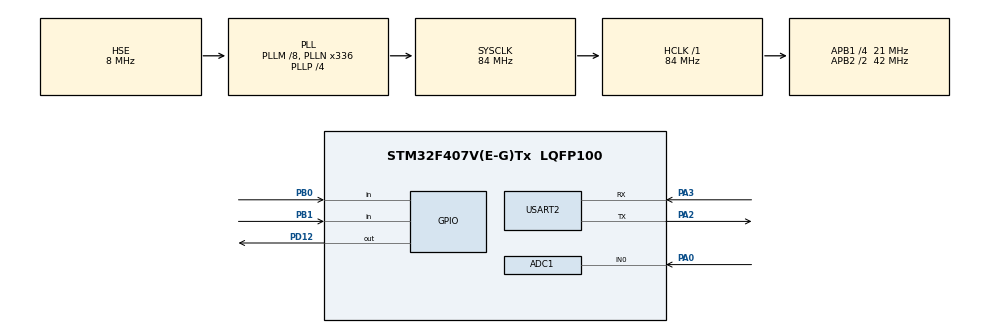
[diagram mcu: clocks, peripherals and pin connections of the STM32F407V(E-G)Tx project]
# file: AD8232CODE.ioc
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ADC1.Channel-0\#ChannelRegularConversion=ADC_CHANNEL_0
ADC1.DMAContinuousRequests=ENABLE
ADC1.ExternalTrigConv=ADC_EXTERNALTRIGCONV_T2_TRGO
ADC1.NbrOfConversionFlag=1
ADC1.Rank-0\#ChannelRegularConversion=1
ADC1.SamplingTime-0\#ChannelRegularConversion=ADC_SAMPLETIME_3CYCLES
ADC1.master=1
Dma.ADC1.0.Direction=DMA_PERIPH_TO_MEMORY
Dma.ADC1.0.FIFOMode=DMA_FIFOMODE_DISABLE
Dma.ADC1.0.Instance=DMA2_Stream0
Dma.ADC1.0.MemDataAlignment=DMA_MDATAALIGN_HALFWORD
Dma.ADC1.0.MemInc=DMA_MINC_ENABLE
Dma.ADC1.0.Mode=DMA_CIRCULAR
Dma.ADC1.0.PeriphDataAlignment=DMA_PDATAALIGN_HALFWORD
Dma.ADC1.0.PeriphInc=DMA_PINC_DISABLE
Dma.ADC1.0.Priority=DMA_PRIORITY_VERY_HIGH
Dma.Request0=ADC1
FREERTOS.Tasks01=defaultTask,24,128,StartDefaultTask,Default,NULL,Dynamic,NULL,NULL
Mcu.Family=STM32F4
Mcu.Name=STM32F407V(E-G)Tx
Mcu.Package=LQFP100
NVIC.ADC_IRQn=true\:5\:0\:false\:false\:true\:true\:true\:true\:true
NVIC.DMA2_Stream0_IRQn=true\:5\:0\:false\:false\:true\:true\:false\:true\:true
NVIC.PriorityGroup=NVIC_PRIORITYGROUP_4
PA0-WKUP.Signal=ADCx_IN0
PA13.Mode=Serial_Wire
PA13.Signal=SYS_JTMS-SWDIO
PA14.Mode=Serial_Wire
PA14.Signal=SYS_JTCK-SWCLK
PA2.Mode=Asynchronous
PA2.Signal=USART2_TX
PA3.Mode=Asynchronous
PA3.Signal=USART2_RX
PB0.Signal=GPIO_Input
PB1.Signal=GPIO_Input
PD12.Signal=GPIO_Output
PH0-OSC_IN.Mode=HSE-External-Oscillator
PH0-OSC_IN.Signal=RCC_OSC_IN
PH1-OSC_OUT.Mode=HSE-External-Oscillator
PH1-OSC_OUT.Signal=RCC_OSC_OUT
ProjectManager.HeapSize=0x200
ProjectManager.StackSize=0x400
ProjectManager.TargetToolchain=STM32CubeIDE
RCC.48MHZClocksFreq_Value=48000000
RCC.AHBFreq_Value=84000000
RCC.APB1CLKDivider=RCC_HCLK_DIV4
RCC.APB1Freq_Value=21000000
RCC.APB1TimFreq_Value=42000000
RCC.APB2CLKDivider=RCC_HCLK_DIV2
RCC.APB2Freq_Value=42000000
RCC.APB2TimFreq_Value=84000000
RCC.CortexFreq_Value=84000000
RCC.HCLKFreq_Value=84000000
RCC.HSE_VALUE=8000000
RCC.HSI_VALUE=16000000
RCC.LSE_VALUE=32768
RCC.PLLM=8
RCC.PLLN=336
RCC.PLLP=RCC_PLLP_DIV4
RCC.PLLQ=7
RCC.PLLSourceVirtual=RCC_PLLSOURCE_HSE
RCC.SYSCLKFreq_VALUE=84000000
RCC.SYSCLKSource=RCC_SYSCLKSOURCE_PLLCLK
RCC.VCOOutputFreq_Value=336000000
SH.ADCx_IN0.0=ADC1_IN0,IN0
TIM2.Period=39
TIM2.Prescaler=8399
TIM2.TIM_MasterOutputTrigger=TIM_TRGO_UPDATE
USART2.VirtualMode=VM_ASYNC
VP_FREERTOS_VS_CMSIS_V2.Mode=CMSIS_V2
VP_TIM2_VS_ClockSourceINT.Mode=Internal
board=STM32F407G-DISC1

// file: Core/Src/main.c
/* USER CODE BEGIN Header */
/**
  ******************************************************************************
  * @file           : main.c
  * @brief          : Main program body
  ******************************************************************************
  * @attention
  *
  * Copyright (c) 2026 STMicroelectronics.
  * All rights reserved.
  *
  * This software is licensed under terms that can be found in the LICENSE file
  * in the root directory of this software component.
  * If no LICENSE file comes with this software, it is provided AS-IS.
  *
  ******************************************************************************
  */
/* USER CODE END Header */
#include "main.h"
#include "cmsis_os.h"

/* USER CODE BEGIN Includes */
#include"ecg.h"
#include "uart_debug.h"
/* USER CODE END Includes */

ADC_HandleTypeDef hadc1;
DMA_HandleTypeDef hdma_adc1;

TIM_HandleTypeDef htim2;

UART_HandleTypeDef huart2;

/* Definitions for defaultTask */
osThreadId_t defaultTaskHandle;
const osThreadAttr_t defaultTask_attributes = {
  .name = "defaultTask",
  .stack_size = 128 * 4,
  .priority = (osPriority_t) osPriorityNormal,
};
/* USER CODE BEGIN PV */
TaskHandle_t ECGTaskHandle = NULL;
TaskHandle_t UARTTaskHandle = NULL;
/* USER CODE END PV */

void SystemClock_Config(void);
static void MX_GPIO_Init(void);
static void MX_DMA_Init(void);
static void MX_ADC1_Init(void);
static void MX_TIM2_Init(void);
static void MX_USART2_UART_Init(void);
void StartDefaultTask(void *argument);

/* USER CODE BEGIN 0 */
void vECGTask(void *argument)
{
    while(1)
    {
        ulTaskNotifyTake(pdTRUE, portMAX_DELAY);

        if(ECG_LeadOffDetected())
        {
            UART_SendString("Lead Off\r\n");
            continue;
        }

        xTaskNotifyGive(UARTTaskHandle);
    }
}
void vUARTTask(void *argument)
{
    while(1)
    {
        ulTaskNotifyTake(pdTRUE, portMAX_DELAY);

        if(dmaReady == ECG_FIRST_HALF)
        {
            for(int i = 0; i < ECG_BUFFER_SIZE; i++)
            {
                UART_SendNumber(adcBuffer[i]);
            }
        }
        else if(dmaReady == ECG_SECOND_HALF)
        {
            for(int i = ECG_BUFFER_SIZE;
                i < ECG_BUFFER_SIZE * 2;
                i++)
            {
                UART_SendNumber(adcBuffer[i]);
            }
        }

        dmaReady = ECG_NONE;
    }
}
/* USER CODE END 0 */

int main(void)
{

  /* MCU Configuration--------------------------------------------------------*/

  /* Reset of all peripherals, Initializes the Flash interface and the Systick. */
  HAL_Init();

  /* Configure the system clock */
  SystemClock_Config();

  /* Initialize all configured peripherals */
  MX_GPIO_Init();
  MX_DMA_Init();
  MX_ADC1_Init();
  MX_TIM2_Init();
  MX_USART2_UART_Init();
  /* USER CODE BEGIN 2 */
  ECG_Init();

  /* USER CODE END 2 */

  /* Init scheduler */
  osKernelInitialize();

  /* Create the thread(s) */
  /* creation of defaultTask */
  defaultTaskHandle = osThreadNew(StartDefaultTask, NULL, &defaultTask_attributes);

  /* USER CODE BEGIN RTOS_THREADS */
  /* add threads, ... */
  if(xTaskCreate(vECGTask,"ECG",512,NULL,4,&ECGTaskHandle) != pdPASS)
  {
	  Error_Handler();
  }

  if(xTaskCreate(vUARTTask,"UART",512,NULL,3,&UARTTaskHandle) != pdPASS)
  {
	  Error_Handler();
  }
  /* USER CODE END RTOS_THREADS */

  /* Start scheduler */
  osKernelStart();

  /* We should never get here as control is now taken by the scheduler */

  /* Infinite loop */
  /* USER CODE BEGIN WHILE */
  while (1)
  {
	  //ECG_Task();
    /* USER CODE END WHILE */

  }
}

void SystemClock_Config(void)
{
  RCC_OscInitTypeDef RCC_OscInitStruct = {0};
  RCC_ClkInitTypeDef RCC_ClkInitStruct = {0};

  /** Configure the main internal regulator output voltage
  */
  __HAL_RCC_PWR_CLK_ENABLE();
  __HAL_PWR_VOLTAGESCALING_CONFIG(PWR_REGULATOR_VOLTAGE_SCALE1);

  /** Initializes the RCC Oscillators according to the specified parameters
  * in the RCC_OscInitTypeDef structure.
  */
  RCC_OscInitStruct.OscillatorType = RCC_OSCILLATORTYPE_HSE;
  RCC_OscInitStruct.HSEState = RCC_HSE_ON;
  RCC_OscInitStruct.PLL.PLLState = RCC_PLL_ON;
  RCC_OscInitStruct.PLL.PLLSource = RCC_PLLSOURCE_HSE;
  RCC_OscInitStruct.PLL.PLLM = 8;
  RCC_OscInitStruct.PLL.PLLN = 336;
  RCC_OscInitStruct.PLL.PLLP = RCC_PLLP_DIV4;
  RCC_OscInitStruct.PLL.PLLQ = 7;
  if (HAL_RCC_OscConfig(&RCC_OscInitStruct) != HAL_OK)
  {
    Error_Handler();
  }

  /** Initializes the CPU, AHB and APB buses clocks
  */
  RCC_ClkInitStruct.ClockType = RCC_CLOCKTYPE_HCLK|RCC_CLOCKTYPE_SYSCLK
                              |RCC_CLOCKTYPE_PCLK1|RCC_CLOCKTYPE_PCLK2;
  RCC_ClkInitStruct.SYSCLKSource = RCC_SYSCLKSOURCE_PLLCLK;
  RCC_ClkInitStruct.AHBCLKDivider = RCC_SYSCLK_DIV1;
  RCC_ClkInitStruct.APB1CLKDivider = RCC_HCLK_DIV4;
  RCC_ClkInitStruct.APB2CLKDivider = RCC_HCLK_DIV2;

  if (HAL_RCC_ClockConfig(&RCC_ClkInitStruct, FLASH_LATENCY_2) != HAL_OK)
  {
    Error_Handler();
  }
}

static void MX_ADC1_Init(void)
{

  ADC_ChannelConfTypeDef sConfig = {0};

  /** Configure the global features of the ADC (Clock, Resolution, Data Alignment and number of conversion)
  */
  hadc1.Instance = ADC1;
  hadc1.Init.ClockPrescaler = ADC_CLOCK_SYNC_PCLK_DIV2;
  hadc1.Init.Resolution = ADC_RESOLUTION_12B;
  hadc1.Init.ScanConvMode = DISABLE;
  hadc1.Init.ContinuousConvMode = DISABLE;
  hadc1.Init.DiscontinuousConvMode = DISABLE;
  hadc1.Init.ExternalTrigConvEdge = ADC_EXTERNALTRIGCONVEDGE_RISING;
  hadc1.Init.ExternalTrigConv = ADC_EXTERNALTRIGCONV_T2_TRGO;
  hadc1.Init.DataAlign = ADC_DATAALIGN_RIGHT;
  hadc1.Init.NbrOfConversion = 1;
  hadc1.Init.DMAContinuousRequests = ENABLE;
  hadc1.Init.EOCSelection = ADC_EOC_SINGLE_CONV;
  if (HAL_ADC_Init(&hadc1) != HAL_OK)
  {
    Error_Handler();
  }

  /** Configure for the selected ADC regular channel its corresponding rank in the sequencer and its sample time.
  */
  sConfig.Channel = ADC_CHANNEL_0;
  sConfig.Rank = 1;
  sConfig.SamplingTime = ADC_SAMPLETIME_3CYCLES;
  if (HAL_ADC_ConfigChannel(&hadc1, &sConfig) != HAL_OK)
  {
    Error_Handler();
  }

}

static void MX_TIM2_Init(void)
{

  TIM_ClockConfigTypeDef sClockSourceConfig = {0};
  TIM_MasterConfigTypeDef sMasterConfig = {0};

  htim2.Instance = TIM2;
  htim2.Init.Prescaler = 8399;
  htim2.Init.CounterMode = TIM_COUNTERMODE_UP;
  htim2.Init.Period = 39;
  htim2.Init.ClockDivision = TIM_CLOCKDIVISION_DIV1;
  htim2.Init.AutoReloadPreload = TIM_AUTORELOAD_PRELOAD_DISABLE;
  if (HAL_TIM_Base_Init(&htim2) != HAL_OK)
  {
    Error_Handler();
  }
  sClockSourceConfig.ClockSource = TIM_CLOCKSOURCE_INTERNAL;
  if (HAL_TIM_ConfigClockSource(&htim2, &sClockSourceConfig) != HAL_OK)
  {
    Error_Handler();
  }
  sMasterConfig.MasterOutputTrigger = TIM_TRGO_UPDATE;
  sMasterConfig.MasterSlaveMode = TIM_MASTERSLAVEMODE_DISABLE;
  if (HAL_TIMEx_MasterConfigSynchronization(&htim2, &sMasterConfig) != HAL_OK)
  {
    Error_Handler();
  }

}

static void MX_USART2_UART_Init(void)
{

  huart2.Instance = USART2;
  huart2.Init.BaudRate = 115200;
  huart2.Init.WordLength = UART_WORDLENGTH_8B;
  huart2.Init.StopBits = UART_STOPBITS_1;
  huart2.Init.Parity = UART_PARITY_NONE;
  huart2.Init.Mode = UART_MODE_TX_RX;
  huart2.Init.HwFlowCtl = UART_HWCONTROL_NONE;
  huart2.Init.OverSampling = UART_OVERSAMPLING_16;
  if (HAL_UART_Init(&huart2) != HAL_OK)
  {
    Error_Handler();
  }

}

static void MX_DMA_Init(void)
{

  /* DMA controller clock enable */
  __HAL_RCC_DMA2_CLK_ENABLE();

  /* DMA interrupt init */
  /* DMA2_Stream0_IRQn interrupt configuration */
  HAL_NVIC_SetPriority(DMA2_Stream0_IRQn, 5, 0);
  HAL_NVIC_EnableIRQ(DMA2_Stream0_IRQn);

}

static void MX_GPIO_Init(void)
{
  GPIO_InitTypeDef GPIO_InitStruct = {0};

  /* GPIO Ports Clock Enable */
  __HAL_RCC_GPIOH_CLK_ENABLE();
  __HAL_RCC_GPIOA_CLK_ENABLE();
  __HAL_RCC_GPIOB_CLK_ENABLE();
  __HAL_RCC_GPIOD_CLK_ENABLE();

  /*Configure GPIO pin Output Level */
  HAL_GPIO_WritePin(GPIOD, GPIO_PIN_12, GPIO_PIN_RESET);

  /*Configure GPIO pins : PB0 PB1 */
  GPIO_InitStruct.Pin = GPIO_PIN_0|GPIO_PIN_1;
  GPIO_InitStruct.Mode = GPIO_MODE_INPUT;
  GPIO_InitStruct.Pull = GPIO_NOPULL;
  HAL_GPIO_Init(GPIOB, &GPIO_InitStruct);

  /*Configure GPIO pin : PD12 */
  GPIO_InitStruct.Pin = GPIO_PIN_12;
  GPIO_InitStruct.Mode = GPIO_MODE_OUTPUT_PP;
  GPIO_InitStruct.Pull = GPIO_NOPULL;
  GPIO_InitStruct.Speed = GPIO_SPEED_FREQ_LOW;
  HAL_GPIO_Init(GPIOD, &GPIO_InitStruct);

}

void StartDefaultTask(void *argument)
{
  for(;;)
  {
    osDelay(1);
  }
}

void Error_Handler(void)
{
  __disable_irq();
  while (1)
  {
  }
}
